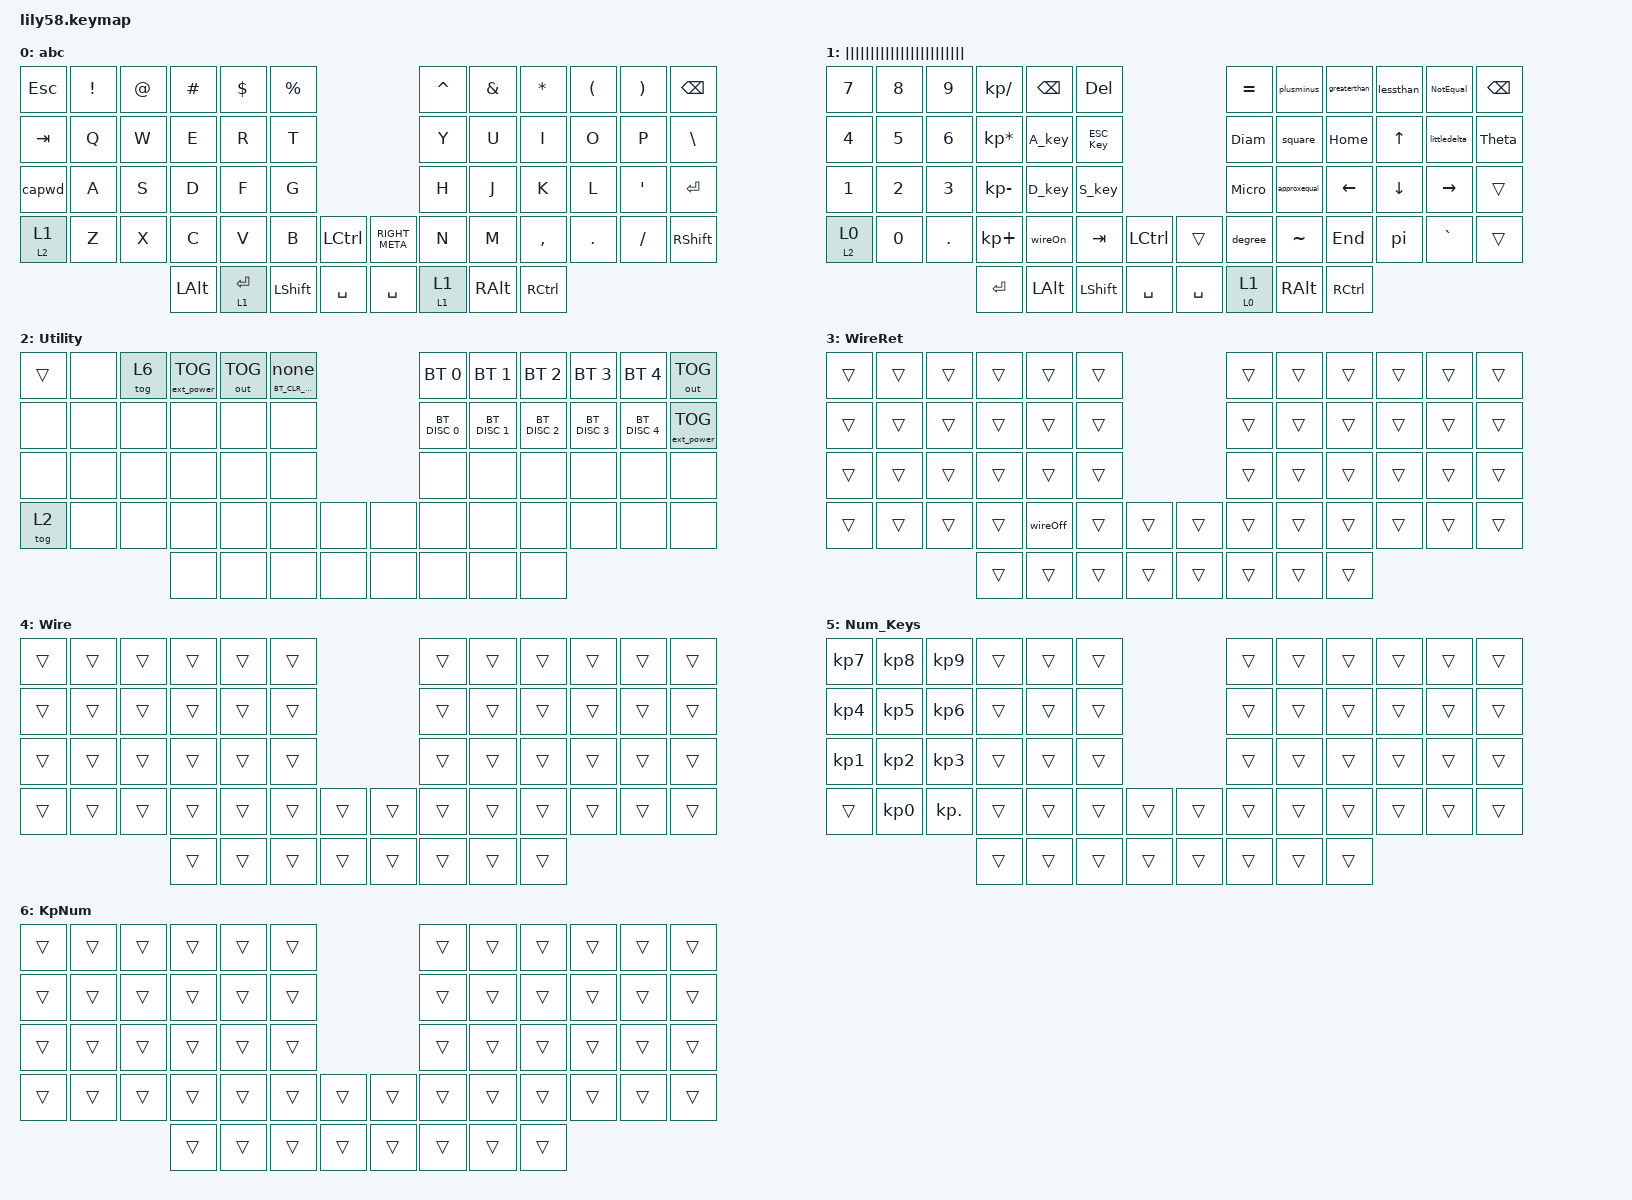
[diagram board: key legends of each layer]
/*
 * Copyright (c) 2020 The ZMK Contributors
 *
 * SPDX-License-Identifier: MIT
 */

#include <behaviors.dtsi>
#include <dt-bindings/zmk/bt.h>
#include <dt-bindings/zmk/ext_power.h>
#include <dt-bindings/zmk/keys.h>
#include <dt-bindings/zmk/outputs.h>

/ {
    macros {
        NotEqual: NotEqual {
            compatible = "zmk,behavior-macro";
            #binding-cells = <0>;
            bindings =
                <&macro_press>,
                <&kp RALT>,
                <&macro_tap>,
                <&kp KP_NUMBER_8 &kp KP_N8 &kp KP_N0 &kp KP_N0>,
                <&macro_release>,
                <&kp RALT>;

            label = "NOTEQUAL";
            wait-ms = <30>;
            tap-ms = <30>;
        };

        pi: pi {
            compatible = "zmk,behavior-macro";
            #binding-cells = <0>;
            bindings =
                <&macro_press>,
                <&kp RALT>,
                <&macro_tap>,
                <&kp KP_NUMBER_2 &kp KP_NUMBER_2 &kp KP_NUMBER_7>,
                <&macro_release>,
                <&kp RALT>;

            label = "PI";
            wait-ms = <30>;
            tap-ms = <30>;
        };

        plusminus: plusminus {
            compatible = "zmk,behavior-macro";
            #binding-cells = <0>;
            bindings =
                <&macro_press>,
                <&kp RALT>,
                <&macro_tap>,
                <&kp KP_NUMBER_0 &kp KP_NUMBER_1 &kp KP_NUMBER_7 &kp KP_NUMBER_7>,
                <&macro_release>,
                <&kp RALT>;

            label = "PLUSMINUS";
            wait-ms = <30>;
            tap-ms = <30>;
        };

        greaterthan: greaterthan {
            compatible = "zmk,behavior-macro";
            #binding-cells = <0>;
            bindings =
                <&macro_press>,
                <&kp RALT>,
                <&macro_tap>,
                <&kp KP_NUMBER_2 &kp KP_NUMBER_4 &kp KP_NUMBER_2>,
                <&macro_release>,
                <&kp RALT>;

            label = "GREATERTHAN";
            wait-ms = <30>;
            tap-ms = <30>;
        };

        lessthan: lessthan {
            compatible = "zmk,behavior-macro";
            #binding-cells = <0>;
            bindings =
                <&macro_press>,
                <&kp RALT>,
                <&macro_tap>,
                <&kp KP_NUMBER_2 &kp KP_NUMBER_4 &kp KP_NUMBER_3>,
                <&macro_release>,
                <&kp RALT>;

            label = "LESSTHAN";
            wait-ms = <30>;
            tap-ms = <30>;
        };

        approxequal: approxequal {
            compatible = "zmk,behavior-macro";
            #binding-cells = <0>;
            bindings =
                <&macro_press>,
                <&kp RALT>,
                <&macro_tap>,
                <&kp KP_NUMBER_2 &kp KP_NUMBER_4 &kp KP_NUMBER_7>,
                <&macro_release>,
                <&kp RALT>;

            label = "APPROXEQUAL";
            wait-ms = <30>;
            tap-ms = <30>;
        };

        alpha: alpha {
            compatible = "zmk,behavior-macro";
            #binding-cells = <0>;
            bindings =
                <&macro_press>,
                <&kp RALT>,
                <&macro_tap>,
                <&kp KP_NUMBER_2 &kp KP_NUMBER_2 &kp KP_NUMBER_4>,
                <&macro_release>,
                <&kp RALT>;

            label = "ALPHA";
            wait-ms = <30>;
            tap-ms = <30>;
        };

        Micro: Micro {
            compatible = "zmk,behavior-macro";
            #binding-cells = <0>;
            bindings =
                <&macro_press>,
                <&kp RALT>,
                <&macro_tap>,
                <&kp KP_NUMBER_2 &kp KP_NUMBER_3 &kp KP_NUMBER_0>,
                <&macro_release>,
                <&kp RALT>;

            label = "MICRO";
            wait-ms = <30>;
            tap-ms = <30>;
        };

        degree: degree {
            compatible = "zmk,behavior-macro";
            #binding-cells = <0>;
            bindings =
                <&macro_press>,
                <&kp RALT>,
                <&macro_tap>,
                <&kp KP_NUMBER_0 &kp KP_NUMBER_1 &kp KP_NUMBER_7 &kp KP_NUMBER_6>,
                <&macro_release>,
                <&kp RALT>;

            label = "DEGREE";
            wait-ms = <30>;
            tap-ms = <30>;
        };

        square: square {
            compatible = "zmk,behavior-macro";
            #binding-cells = <0>;
            bindings =
                <&macro_press>,
                <&kp RALT>,
                <&macro_tap>,
                <&kp KP_NUMBER_0 &kp KP_NUMBER_1 &kp KP_NUMBER_7 &kp KP_NUMBER_8>,
                <&macro_release>,
                <&kp RALT>;

            label = "SQUARE";
            wait-ms = <30>;
            tap-ms = <30>;
        };

        Diam: Diam {
            compatible = "zmk,behavior-macro";
            #binding-cells = <0>;
            bindings =
                <&macro_press>,
                <&kp RALT>,
                <&macro_tap>,
                <&kp KP_NUMBER_0 &kp KP_NUMBER_2 &kp KP_NUMBER_1 &kp KP_NUMBER_6>,
                <&macro_release>,
                <&kp RALT>;

            label = "DIAM";
            wait-ms = <30>;
            tap-ms = <30>;
        };

        littledelta: littledelta {
            compatible = "zmk,behavior-macro";
            #binding-cells = <0>;
            bindings =
                <&macro_press>,
                <&kp RALT>,
                <&macro_tap>,
                <&kp KP_NUMBER_2 &kp KP_NUMBER_3 &kp KP_NUMBER_5>,
                <&macro_release>,
                <&kp RALT>;

            label = "LITTLEDELTA";
            wait-ms = <30>;
            tap-ms = <30>;
        };

        wireOn: wire {
            compatible = "zmk,behavior-macro";
            #binding-cells = <0>;
            bindings = <&macro_tap>, <&kp Q &tog 4>;

            label = "WIRE";
        };

        wireOff: wireOff {
            compatible = "zmk,behavior-macro";
            #binding-cells = <0>;
            bindings = <&macro_tap>, <&kp LA(Q) &tog 4>;

            label = "WIREOFF";
        };

        Theta: Theta {
            compatible = "zmk,behavior-macro";
            #binding-cells = <0>;
            bindings =
                <&macro_press>,
                <&kp RALT>,
                <&macro_tap>,
                <&kp KP_NUMBER_2 &kp KP_NUMBER_3 &kp KP_NUMBER_3>,
                <&macro_release>,
                <&kp RALT>;

            label = "THETA";
            wait-ms = <30>;
            tap-ms = <30>;
        };

        milli: milli {
            compatible = "zmk,behavior-macro";
            #binding-cells = <0>;
            bindings = <&macro_tap>, <&kp M &kp M>;

            label = "MILLI";
        };
    };

    behaviors {
        capwd: capwd {
            compatible = "zmk,behavior-tap-dance";
            #binding-cells = <0>;
            label = "CAPWD";
            bindings = <&kp LSHFT>, <&kp CAPS>;

            tapping-term-ms = <400>;
        };

        UtilityL: UtilityL {
            compatible = "zmk,behavior-hold-tap";
            label = "UTILITYL";
            bindings = <&sl>, <&to>;

            #binding-cells = <2>;
            flavor = "hold-preferred";
            tapping-term-ms = <200>;
            quick-tap-ms = <90>;
            require-prior-idle-ms = <500>;
            hold-trigger-key-positions = <0 1 2 5 6 7 8 9 10 18 19 20 21 22 43 3 4 42 36>;
        };

        A_key: A_key {
            compatible = "zmk,behavior-mod-morph";
            label = "A_KEY";
            bindings = <&kp A>, <&kp C>;

            #binding-cells = <0>;
            mods = <(MOD_LCTL)>;
        };

        S_key: S_key {
            compatible = "zmk,behavior-mod-morph";
            label = "S_KEY";
            bindings = <&kp S>, <&kp Y>;

            #binding-cells = <0>;
            mods = <(MOD_LCTL)>;
            keep-mods = <(MOD_LCTL)>;
        };

        RMod: RMod {
            compatible = "zmk,behavior-hold-tap";
            label = "RMOD";
            #binding-cells = <2>;
            bindings = <&mo>, <&tog>;

            flavor = "hold-preferred";
            tapping-term-ms = <200>;
        };

        Nav_Mod: Nav_Mod {
            compatible = "zmk,behavior-hold-tap";
            label = "NAV_MOD";
            #binding-cells = <2>;
            bindings = <&mo>, <&tog>;

            flavor = "hold-preferred";
            tapping-term-ms = <200>;
        };

        D_key: D_key {
            compatible = "zmk,behavior-mod-morph";
            label = "D_KEY";
            bindings = <&kp D>, <&kp Z>;

            #binding-cells = <0>;
            mods = <(MOD_LCTL)>;
            keep-mods = <(MOD_LCTL)>;
        };

        ESC_Key: ESC_Key {
            compatible = "zmk,behavior-mod-morph";
            label = "ESC_KEY";
            bindings = <&kp ESCAPE>, <&kp S>;

            #binding-cells = <0>;
            mods = <(MOD_LCTL)>;
            keep-mods = <(MOD_LCTL)>;
        };

        UtilEnt: UtilEnt {
            compatible = "zmk,behavior-hold-tap";
            label = "UTILENT";
            bindings = <&mo>, <&kp>;

            #binding-cells = <2>;
            tapping-term-ms = <200>;
        };

        BT_Erase: BT_Erase {
            compatible = "zmk,behavior-hold-tap";
            label = "BT_ERASE";
            bindings = <&bt>, <&none>;

            #binding-cells = <2>;
            tapping-term-ms = <1000>;
            hold-trigger-on-release;
        };
    };

    combos {
        compatible = "zmk,combos";

        del {
            bindings = <&kp DEL>;
            key-positions = <11 10>;
        };

        LBrak {
            bindings = <&kp LBKT>;
            key-positions = <18 19>;
            require-prior-idle-ms = <200>;
        };

        rbrak {
            bindings = <&kp RIGHT_BRACKET>;
            key-positions = <20 19>;
            require-prior-idle-ms = <200>;
        };

        lbrace {
            bindings = <&kp LEFT_BRACE>;
            key-positions = <30 31>;
            require-prior-idle-ms = <200>;
        };

        rbrace {
            bindings = <&kp RIGHT_BRACE>;
            key-positions = <31 32>;
            require-prior-idle-ms = <200>;
        };

        cut {
            bindings = <&kp LC(X)>;
            key-positions = <37 38>;
            require-prior-idle-ms = <250>;
        };

        copy {
            bindings = <&kp LC(C)>;
            key-positions = <38 39>;
            require-prior-idle-ms = <250>;
        };

        paste {
            bindings = <&kp LC(V)>;
            key-positions = <39 40>;
            require-prior-idle-ms = <250>;
        };

        tab {
            bindings = <&kp TAB>;
            key-positions = <0 1>;
            timeout-ms = <20>;
        };

        dash {
            bindings = <&kp MINUS>;
            key-positions = <9 10>;
        };

        under {
            bindings = <&kp UNDER>;
            key-positions = <21 22>;
            require-prior-idle-ms = <125>;
        };

        semi {
            bindings = <&kp SEMI>;
            key-positions = <22 23>;
        };

        col {
            bindings = <&kp COLON>;
            key-positions = <34 35>;
        };

        equals {
            bindings = <&kp EQUAL>;
            key-positions = <2 3>;
        };

        inch {
            bindings = <&kp DOUBLE_QUOTES>;
            key-positions = <14 15>;
        };

        millimeter {
            bindings = <&milli>;
            key-positions = <26 27>;
        };

        snip {
            bindings = <&kp LG(LS(S))>;
            key-positions = <24 25 26>;
        };

        kp_comma {
            bindings = <&kp COMMA>;
            key-positions = <24 25>;
            timeout-ms = <20>;
        };
    };

    keymap {
        compatible = "zmk,keymap";

        default_layer {
            // ------------------------------------------------------------------------------------------------------------
            // |  ESC  |  1  |  2  |  3   |  4   |  5   |                   |  6   |  7    |  8    |  9   |   0   |   `   |
            // |  TAB  |  Q  |  W  |  E   |  R   |  T   |                   |  Y   |  U    |  I    |  O   |   P   |   -   |
            // |  CTRL |  A  |  S  |  D   |  F   |  G   |                   |  H   |  J    |  K    |  L   |   ;   |   '   |
            // | SHIFT |  Z  |  X  |  C   |  V   |  B   |   "["  |  |  "]"  |  N   |  M    |  ,    |  .   |   /   | SHIFT |
            //                     | ALT  | GUI  | LOWER|  SPACE |  | ENTER | RAISE| BSPC  | GUI   |

            display-name = "abc";
            bindings = <
&kp ESC        &kp EXCL  &kp AT  &kp HASH      &kp DOLLAR        &kp PERCENT                               &kp CARET  &kp AMPERSAND  &kp ASTRK  &kp LEFT_PARENTHESIS  &kp RIGHT_PARENTHESIS  &kp BACKSPACE
&kp TAB        &kp Q     &kp W   &kp E         &kp R             &kp T                                     &kp Y      &kp U          &kp I      &kp O                 &kp P                  &kp BACKSLASH
&capwd         &kp A     &kp S   &kp D         &kp F             &kp G                                     &kp H      &kp J          &kp K      &kp L                 &kp SINGLE_QUOTE       &kp ENTER
&UtilityL 2 1  &kp Z     &kp X   &kp C         &kp V             &kp B        &kp LCTRL    &kp RIGHT_META  &kp N      &kp M          &kp COMMA  &kp PERIOD            &kp SLASH              &kp RSHFT
                                 &kp LEFT_ALT  &UtilEnt 1 ENTER  &kp LSHFT    &kp SPACE    &kp SPACE       &RMod 1 1  &kp RALT       &kp RCTRL
            >;
        };

        SldWksNumb {
            display-name = "||||||||||||||||||||||||";
            bindings = <
&kp N7         &kp N8  &kp N9   &kp KP_DIVIDE    &kp BSPC  &kp DEL                            &kp EQUAL     &plusminus    &greaterthan  &lessthan  &NotEqual     &kp BSPC
&kp N4         &kp N5  &kp N6   &kp KP_MULTIPLY  &A_key    &ESC_Key                           &Diam         &square       &kp HOME      &kp UP     &littledelta  &Theta
&kp N1         &kp N2  &kp N3   &kp KP_SUBTRACT  &D_key    &S_key                             &Micro        &approxequal  &kp LEFT      &kp DOWN   &kp RIGHT     &trans
&UtilityL 2 0  &kp N0  &kp DOT  &kp KP_PLUS      &wireOn   &kp TAB    &kp LCTRL    &trans     &degree       &kp TILDE     &kp END       &pi        &kp GRAVE     &trans
                                &kp RET          &kp LALT  &kp LSHFT  &kp SPACE    &kp SPACE  &Nav_Mod 0 1  &kp RALT      &kp RCTRL
            >;
        };

        Utility {
            display-name = "Utility";
            bindings = <
&trans  &none  &tog 6  &ext_power EP_TOG  &out OUT_TOG  &BT_Erase BT_CLR_CMD 0                  &bt BT_SEL 0   &bt BT_SEL 1   &bt BT_SEL 2   &bt BT_SEL 3   &bt BT_SEL 4   &out OUT_TOG
&none   &none  &none   &none              &none         &none                               &bt BT_DISC 0  &bt BT_DISC 1  &bt BT_DISC 2  &bt BT_DISC 3  &bt BT_DISC 4  &ext_power EP_TOG
&none   &none  &none   &none              &none         &none                               &none          &none          &none          &none          &none          &none
&tog 2  &none  &none   &none              &none         &none               &none    &none  &none          &none          &none          &none          &none          &none
                       &none              &none         &none               &none    &none  &none          &none          &none
            >;
        };

        WireRet {
            bindings = <
&trans  &trans  &trans  &trans  &trans    &trans                    &trans  &trans  &trans  &trans  &trans  &trans
&trans  &trans  &trans  &trans  &trans    &trans                    &trans  &trans  &trans  &trans  &trans  &trans
&trans  &trans  &trans  &trans  &trans    &trans                    &trans  &trans  &trans  &trans  &trans  &trans
&trans  &trans  &trans  &trans  &wireOff  &trans  &trans    &trans  &trans  &trans  &trans  &trans  &trans  &trans
                        &trans  &trans    &trans  &trans    &trans  &trans  &trans  &trans
            >;
        };

        Transparent_Wire_Activator {
            display-name = "Wire";
            bindings = <
&trans  &trans  &trans  &trans  &trans  &trans                    &trans  &trans  &trans  &trans  &trans  &trans
&trans  &trans  &trans  &trans  &trans  &trans                    &trans  &trans  &trans  &trans  &trans  &trans
&trans  &trans  &trans  &trans  &trans  &trans                    &trans  &trans  &trans  &trans  &trans  &trans
&trans  &trans  &trans  &trans  &trans  &trans  &trans    &trans  &trans  &trans  &trans  &trans  &trans  &trans
                        &trans  &trans  &trans  &trans    &trans  &trans  &trans  &trans
            >;
        };

        Num_Keys {
            bindings = <
&kp KP_N7        &kp KP_NUMBER_8  &kp KP_N9        &trans  &trans  &trans                    &trans  &trans  &trans  &trans  &trans  &trans
&kp KP_NUMBER_4  &kp KP_NUMBER_5  &kp KP_NUMBER_6  &trans  &trans  &trans                    &trans  &trans  &trans  &trans  &trans  &trans
&kp KP_NUMBER_1  &kp KP_NUMBER_2  &kp KP_NUMBER_3  &trans  &trans  &trans                    &trans  &trans  &trans  &trans  &trans  &trans
&trans           &kp KP_NUMBER_0  &kp KP_DOT       &trans  &trans  &trans  &trans    &trans  &trans  &trans  &trans  &trans  &trans  &trans
                                                   &trans  &trans  &trans  &trans    &trans  &trans  &trans  &trans
            >;
        };

        Transparent_Num_Activator {
            display-name = "KpNum";
            bindings = <
&trans  &trans  &trans  &trans  &trans  &trans                    &trans  &trans  &trans  &trans  &trans  &trans
&trans  &trans  &trans  &trans  &trans  &trans                    &trans  &trans  &trans  &trans  &trans  &trans
&trans  &trans  &trans  &trans  &trans  &trans                    &trans  &trans  &trans  &trans  &trans  &trans
&trans  &trans  &trans  &trans  &trans  &trans  &trans    &trans  &trans  &trans  &trans  &trans  &trans  &trans
                        &trans  &trans  &trans  &trans    &trans  &trans  &trans  &trans
            >;
        };
    };

    conditional_layers {
        compatible = "zmk,conditional-layers";

        Num_Keys_On {
            if-layers = <1 6>;
            then-layer = <5>;
        };

        Wire_Frame_On {
            if-layers = <1 4>;
            then-layer = <3>;
        };
    };
};
